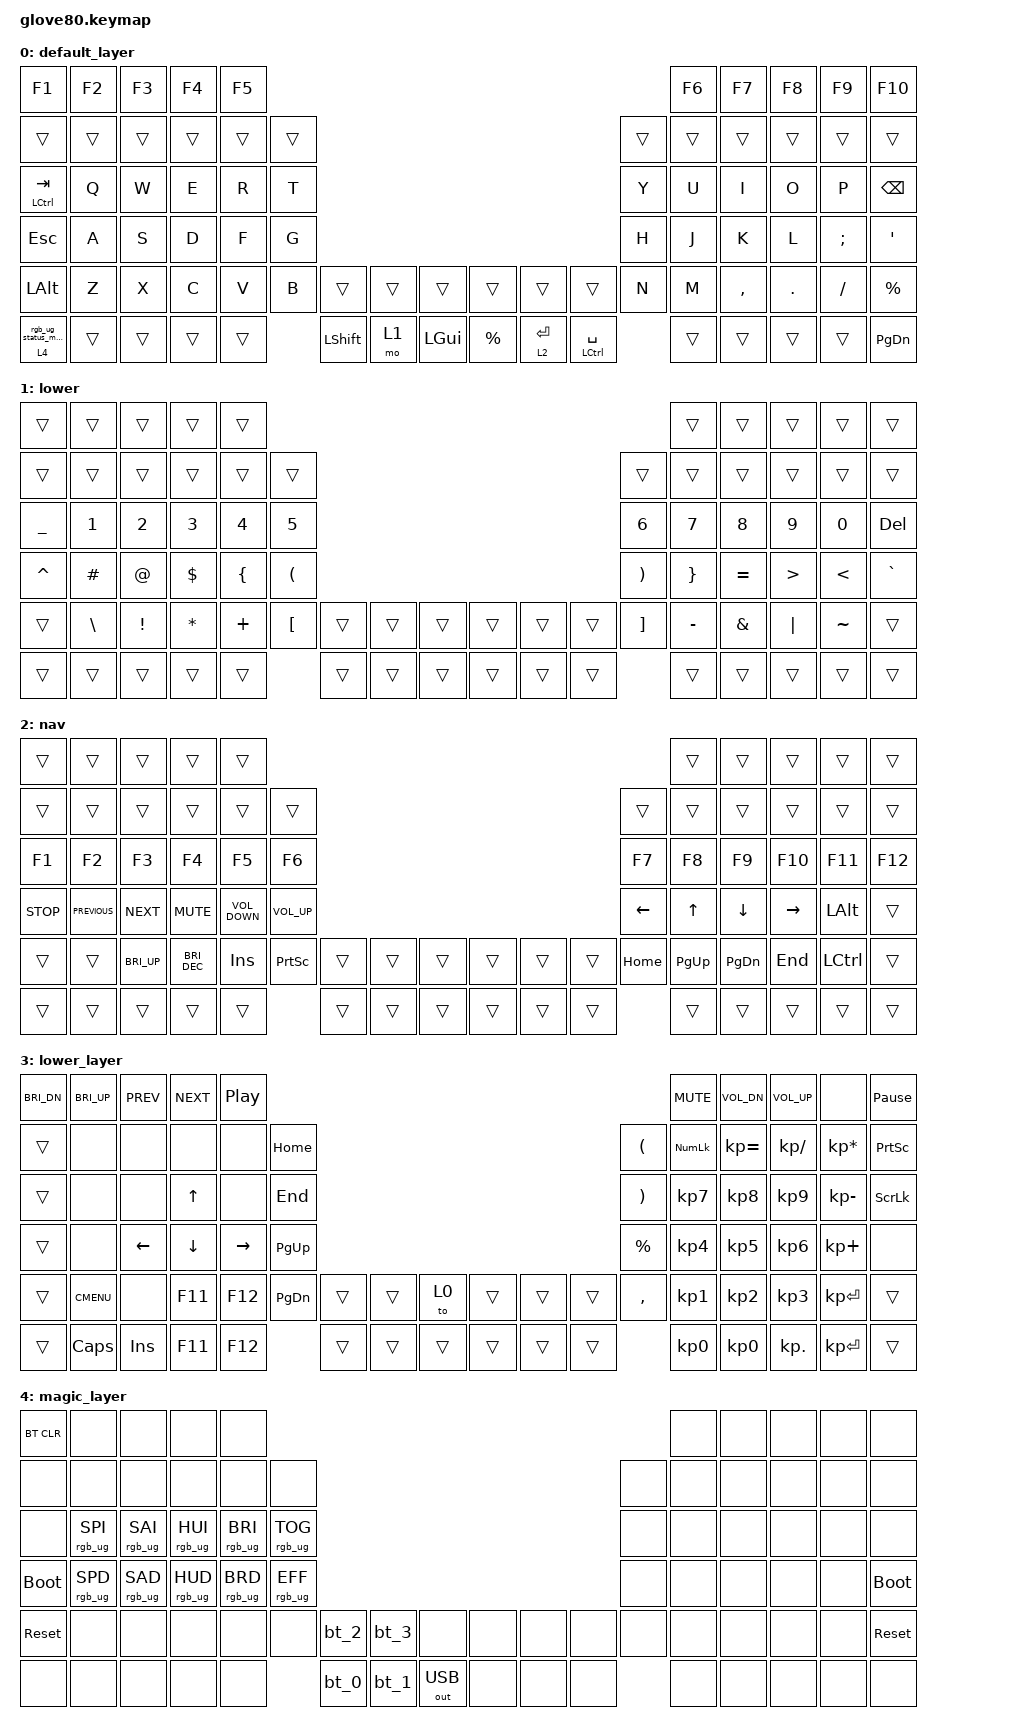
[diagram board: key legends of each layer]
/*
 * Copyright (c) 2020 The ZMK Contributors
 *
 * SPDX-License-Identifier: MIT
 */

#include <behaviors.dtsi>
#include <dt-bindings/zmk/bt.h>
#include <dt-bindings/zmk/keys.h>
#include <dt-bindings/zmk/outputs.h>
#include <dt-bindings/zmk/rgb.h>

// layers

#define DEFAULT 0
#define LOWER 1
#define MAGIC 2

/ {
    behaviors {
        // For the "layer" key, it'd nice to be able to use it as either a shift or a toggle.
        // Configure it as a tap dance, so the first tap (or hold) is a &mo and the second tap is a &to

        layer_td: tap_dance_0 {
            compatible = "zmk,behavior-tap-dance";
            #binding-cells = <0>;
            tapping-term-ms = <200>;
            bindings = <&mo 3>, <&to 3>;
        };

        custom_mt: custom_mt {
            compatible = "zmk,behavior-hold-tap";
            label = "CUSTOM_MT";
            bindings = <&kp>, <&kp>;

            #binding-cells = <2>;
            tapping-term-ms = <150>;
            flavor = "balanced";
            hold-trigger-on-release;
            require-prior-idle-ms = <200>;
        };

        custom_mt_mo: custom_mt_mo {
            compatible = "zmk,behavior-hold-tap";
            label = "CUSTOM_MT_MO";
            bindings = <&mo>, <&kp>;

            #binding-cells = <2>;
            tapping-term-ms = <150>;
            flavor = "balanced";
            hold-trigger-on-release;
            require-prior-idle-ms = <200>;
        };

        magic: magic {
            compatible = "zmk,behavior-hold-tap";
            label = "MAGIC_HOLD_TAP";
            bindings = <&mo>, <&rgb_ug_status_macro>;

            #binding-cells = <2>;
            tapping-term-ms = <200>;
            flavor = "tap-preferred";
        };
    };

    macros {
        bt_0: bt_profile_macro_0 {
            compatible = "zmk,behavior-macro";
            #binding-cells = <0>;
            bindings = <&out OUT_BLE &bt BT_SEL 0>;
        };

        bt_1: bt_profile_macro_1 {
            compatible = "zmk,behavior-macro";
            #binding-cells = <0>;
            bindings = <&out OUT_BLE &bt BT_SEL 1>;
        };

        bt_2: bt_profile_macro_2 {
            compatible = "zmk,behavior-macro";
            #binding-cells = <0>;
            bindings = <&out OUT_BLE &bt BT_SEL 2>;
        };

        bt_3: bt_profile_macro_3 {
            compatible = "zmk,behavior-macro";
            #binding-cells = <0>;
            bindings = <&out OUT_BLE &bt BT_SEL 3>;
        };

        rgb_ug_status_macro: rgb_ug_status_macro {
            compatible = "zmk,behavior-macro";
            #binding-cells = <0>;
            label = "RGB_UG_STATUS";
            bindings = <&rgb_ug RGB_STATUS>;
        };
    };

    combos {
        compatible = "zmk,combos";

        combo_underscore {
            bindings = <&kp UNDER>;
            key-positions = <60 61>;
            layers = <0>;
        };
    };

    keymap {
        compatible = "zmk,keymap";

        default_layer {
            // ---------------------------------------------------------------------------------------------------------------------------------
            // |  F1   |  F2 |  F3 |  F4  |  F5  |                                                               |  F6   |  F7   |  F8  |   F9  |  F10 |
            // |  =    |  1  |  2  |  3   |  4   |  5   |                                                 |  6   |   7   |   8   |  9   |   0   |   -  |
            // |  TAB  |  Q  |  W  |  E   |  R   |  T   |                                                 |  Y   |   U   |   I   |  O   |   P   |   \  |
            // |  ESC  |  A  |  S  |  D   |  F   |  G   |                                                 |  H   |   J   |   K   |  L   |   ;   |   '  |
            // |   `   |  Z  |  X  |  C   |  V   |  B   | LSHFT | LCTRL | LOWER | | LGUI  | RCTRL | RSHFT |  N   |   M   |   ,   |  .   |   /   | PGUP |
            // | MAGIC | HOME| END | LEFT | RIGHT|      | BSPC  | DEL   | LALT  | | RALT  | RET   | SPACE |      |  UP   | DOWN  |  [   |   ]   | PGDN |

            bindings = <
&kp F1                &kp F2  &kp F3  &kp F4  &kp F5                                                                                                                      &kp F6  &kp F7     &kp F8   &kp F9    &kp F10
&trans                &trans  &trans  &trans  &trans  &trans                                                                                                      &trans  &trans  &trans     &trans   &trans    &trans
&custom_mt LCTRL TAB  &kp Q   &kp W   &kp E   &kp R   &kp T                                                                                                       &kp Y   &kp U   &kp I      &kp O    &kp P     &kp BACKSPACE
&kp ESC               &kp A   &kp S   &kp D   &kp F   &kp G                                                                                                       &kp H   &kp J   &kp K      &kp L    &kp SEMI  &kp SQT
&kp LEFT_ALT          &kp Z   &kp X   &kp C   &kp V   &kp B   &trans          &trans  &trans          &trans       &trans                 &trans                  &kp N   &kp M   &kp COMMA  &kp DOT  &kp FSLH  &kp PERCENT
&magic 4 0            &trans  &trans  &trans  &trans          &kp LEFT_SHIFT  &mo 1   &kp LEFT_GUI    &kp PERCENT  &custom_mt_mo 2 ENTER  &custom_mt LCTRL SPACE          &trans  &trans     &trans   &trans    &kp PG_DN
            >;
        };

        lower {
            bindings = <
&trans     &trans         &trans    &trans      &trans                                                                                                         &trans           &trans     &trans            &trans         &trans
&trans     &trans         &trans    &trans      &trans          &trans                                                                  &trans                 &trans           &trans     &trans            &trans         &trans
&kp UNDER  &kp N1         &kp N2    &kp N3      &kp N4          &kp N5                                                                  &kp N6                 &kp N7           &kp N8     &kp N9            &kp N0         &kp DEL
&kp CARET  &kp HASH       &kp AT    &kp DOLLAR  &kp LEFT_BRACE  &kp LEFT_PARENTHESIS                                                    &kp RIGHT_PARENTHESIS  &kp RIGHT_BRACE  &kp EQUAL  &kp GREATER_THAN  &kp LESS_THAN  &kp GRAVE
&trans     &kp BACKSLASH  &kp EXCL  &kp STAR    &kp PLUS        &kp LEFT_BRACKET      &trans  &trans  &trans    &trans  &trans  &trans  &kp RIGHT_BRACKET      &kp MINUS        &kp AMPS   &kp PIPE          &kp TILDE      &trans
&trans     &trans         &trans    &trans      &trans                                &trans  &trans  &trans    &trans  &trans  &trans                         &trans           &trans     &trans            &trans         &trans
            >;

            label = "lower";
        };

        nav_layer {
            bindings = <
&trans      &trans          &trans        &trans         &trans                                                                                                &trans        &trans          &trans           &trans        &trans
&trans      &trans          &trans        &trans         &trans             &trans                                                             &trans          &trans        &trans          &trans           &trans        &trans
&kp F1      &kp F2          &kp F3        &kp F4         &kp F5             &kp F6                                                             &kp F7          &kp F8        &kp F9          &kp F10          &kp F11       &kp F12
&kp C_STOP  &kp C_PREVIOUS  &kp C_NEXT    &kp C_MUTE     &kp C_VOLUME_DOWN  &kp C_VOLUME_UP                                                    &kp LEFT_ARROW  &kp UP_ARROW  &kp DOWN_ARROW  &kp RIGHT_ARROW  &kp LEFT_ALT  &trans
&trans      &trans          &kp C_BRI_UP  &kp C_BRI_DEC  &kp INSERT         &kp PRINTSCREEN  &trans  &trans  &trans    &trans  &trans  &trans  &kp HOME        &kp PG_UP     &kp PAGE_DOWN   &kp END          &kp LCTRL     &trans
&trans      &trans          &trans        &trans         &trans                              &trans  &trans  &trans    &trans  &trans  &trans                  &trans        &trans          &trans           &trans        &trans
            >;

            label = "nav";
        };

        lower_layer {
            bindings = <
&kp C_BRI_DN  &kp C_BRI_UP  &kp C_PREV  &kp C_NEXT  &kp C_PP                                                                           &kp C_MUTE  &kp C_VOL_DN  &kp C_VOL_UP   &none            &kp PAUSE_BREAK
&trans        &none         &none       &none       &none      &kp HOME                                                     &kp LPAR   &kp KP_NUM  &kp KP_EQUAL  &kp KP_DIVIDE  &kp KP_MULTIPLY  &kp PSCRN
&trans        &none         &none       &kp UP      &none      &kp END                                                      &kp RPAR   &kp KP_N7   &kp KP_N8     &kp KP_N9      &kp KP_MINUS     &kp SLCK
&trans        &none         &kp LEFT    &kp DOWN    &kp RIGHT  &kp PG_UP                                                    &kp PRCNT  &kp KP_N4   &kp KP_N5     &kp KP_N6      &kp KP_PLUS      &none
&trans        &kp K_CMENU   &none       &kp F11     &kp F12    &kp PG_DN  &trans  &trans  &to 0     &trans  &trans  &trans  &kp COMMA  &kp KP_N1   &kp KP_N2     &kp KP_N3      &kp KP_ENTER     &trans
&trans        &kp CAPS      &kp INS     &kp F11     &kp F12               &trans  &trans  &trans    &trans  &trans  &trans             &kp KP_N0   &kp KP_N0     &kp KP_DOT     &kp KP_ENTER     &trans
            >;
        };

        magic_layer {
            bindings = <
&bt BT_CLR   &none            &none            &none            &none                                                                                       &none  &none  &none  &none  &none
&none        &none            &none            &none            &none            &none                                                               &none  &none  &none  &none  &none  &none
&none        &rgb_ug RGB_SPI  &rgb_ug RGB_SAI  &rgb_ug RGB_HUI  &rgb_ug RGB_BRI  &rgb_ug RGB_TOG                                                     &none  &none  &none  &none  &none  &none
&bootloader  &rgb_ug RGB_SPD  &rgb_ug RGB_SAD  &rgb_ug RGB_HUD  &rgb_ug RGB_BRD  &rgb_ug RGB_EFF                                                     &none  &none  &none  &none  &none  &bootloader
&sys_reset   &none            &none            &none            &none            &none            &bt_2  &bt_3  &none           &none  &none  &none  &none  &none  &none  &none  &none  &sys_reset
&none        &none            &none            &none            &none                             &bt_0  &bt_1  &out OUT_USB    &none  &none  &none         &none  &none  &none  &none  &none
            >;
        };
    };
};
